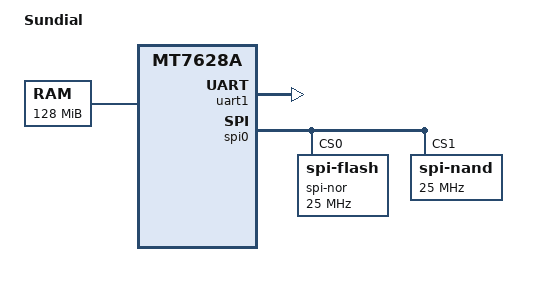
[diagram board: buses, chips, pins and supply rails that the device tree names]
// SPDX-License-Identifier: GPL-2.0
/*
 * Copyright (C) 2018 Stefan Roese <sr@denx.de>
 *
 * Don't forget to review sundial-seiflash.dts if you change this file.
 */

/dts-v1/;

#include "mt7628a.dtsi"

/ {
	compatible = "seeed,linkit-smart-7688", "ralink,mt7628a-soc";
	model = "Sundial";

	aliases {
		serial0 = &uart1;
		spi0 = &spi0;
	};

	memory@0 {
		device_type = "memory";
		reg = <0x0 0x08000000>;
	};

	chosen {
		stdout-path = &uart1;
	};

	signature {
		/* Create a dummy key and mark it as "required to verify configurations"
		 * so that we always verify configurations prior to loading them.  Otherwise,
		 * an attacker could zero the TSK blob in flash (assuming (s)he could get
		 * access to the NOR flash) and compromise the system.
		 */
		key-dummy {
			required = "conf";
		};
	};
};

&uart1 {
	status = "okay";
	clock-frequency = <40000000>;
};

&spi0 {
	status = "okay";
	num-cs = <2>;

	spi-nor@0 {
		#address-cells = <1>;
		#size-cells = <1>;
		compatible = "spi-flash", "jedec,spi-nor";
		spi-max-frequency = <25000000>;
		reg = <0>;
	};

	spi-nand@1 {
		#address-cells = <1>;
		#size-cells = <1>;
		compatible = "spi-nand";
		spi-max-frequency = <25000000>;
		reg = <1>;
	};
};
